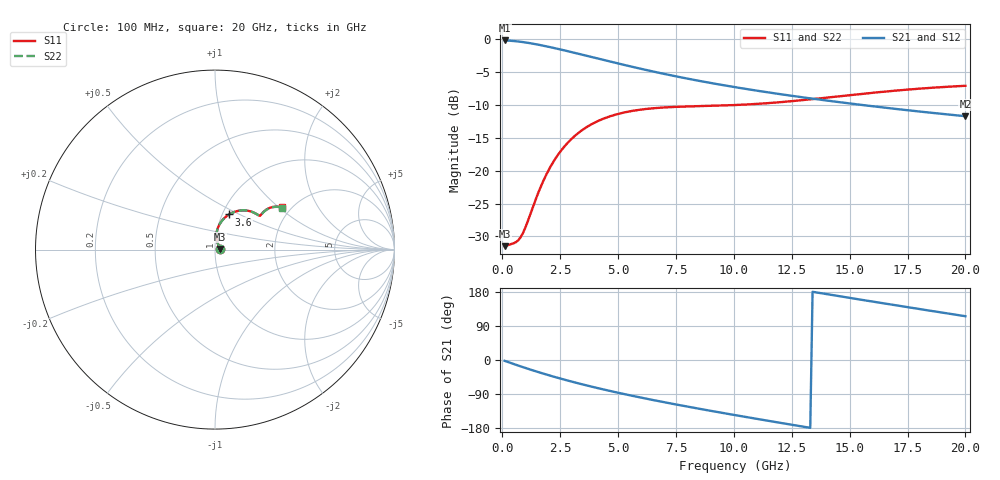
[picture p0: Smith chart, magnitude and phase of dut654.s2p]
! Touchstone file exported from HFSS 2024.1.0
!  File:  C:/UserFiles/LocalFiles/RDL_TSV_Batchsim/temp_RDL_TSV_654_1779809889.aedt
!  Generated:  11:57:06 PM May 26, 2026
!  Design:  RDL_TSV
!  Project:  temp_RDL_TSV_654_1779809889
!  Setup:  Setup1
!  Solution:  Sweep
! Variables:
!  dtsv = 11.44um
!  hbump = 3um
!  htsv = 91.14um
!  ldown = 241.42um
!  lrdl = 624.81um
!  p = 40
!  p1 = 47.72um
!  rhole = 10um
!  subl = 3223.5um
!  t = 450um
!  tdown = 4.9um
!  trdl = 2.88um
!  viad = 10um
!  wdown = 19.99um
!  wrdl = 12.68um
!  xbump = 18um
# GHz S MA R 50.000000
! Terminal data exported
! Port[1] = TM1_1_T1
! Port[2] = TM1_4_T1
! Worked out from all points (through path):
!   200 points, 100 MHz to 20 GHz, reference 50 ohm
!   highest |S21| = -0.24 dB at 100 MHz (marker M1); lowest = -11.7 dB at 20 GHz (marker M2)
!   group delay of S21, straight-line fit = 32 ps
!   lowest |S11| = -31.5 dB at 100 MHz (marker M3), VSWR 1.05, Z = 52.7 + j0.314 ohm
!   |S11| at or under -10 dB: start of sweep to 10.33 GHz
!   |S22| runs from -31.5 to -7.1 dB; largest |S21 - S12| = 7.2e-15
!   S11 on the Smith chart (normalised r, x): 100 MHz: 1.05, +0.01; 3.6 GHz: 1.08, +0.44; 20 GHz: 1.79, +1.05
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0.1  0.02667 6.4  0.973 -2.2  0.973 -2.2  0.02667 6.4
! Gamma 0 0 0 0
! Port Impedance 50 0 50 0
0.6  0.02869 37.3  0.9594 -12.9  0.9594 -12.9  0.0287 37.3
0.8  0.03134 52.0  0.9504 -17.0  0.9504 -17.0  0.03134 51.9
1  0.03707 65.4  0.9397 -21.1  0.9397 -21.1  0.03706 65.4
1.3  0.05158 78.5  0.9213 -27.0  0.9213 -27.0  0.05156 78.4
1.8  0.0856 84.6  0.886 -36.4  0.886 -36.4  0.08554 84.6
2.2  0.1161 83.1  0.8555 -43.6  0.8555 -43.6  0.116 83.0
2.6  0.1464 79.4  0.8243 -50.5  0.8243 -50.5  0.1463 79.4
3  0.1746 74.9  0.7932 -57.1  0.7932 -57.1  0.1745 74.9
3.5  0.2058 69.2  0.755 -64.9  0.755 -64.9  0.2057 69.2
3.6  0.2115 68.1  0.7475 -66.5  0.7475 -66.5  0.2113 68.1
4.3  0.2451 60.7  0.6971 -76.7  0.6971 -76.7  0.2449 60.7
5.2  0.2746 52.7  0.6383 -89.1  0.6383 -89.1  0.2745 52.7
6  0.2907 47.2  0.592 -99.4  0.592 -99.4  0.2906 47.2
6.8  0.3 43.0  0.5511 -109.1  0.5511 -109.1  0.2999 43.0
8.4  0.3082 38.3  0.4838 -127.5  0.4838 -127.5  0.3082 38.2
10.1  0.3149 36.9  0.4285 -146.0  0.4285 -146.0  0.3149 36.9
11.7  0.3274 37.4  0.3874 -162.7  0.3874 -162.7  0.3274 37.3
13.4  0.3488 37.9  0.3516 180.0  0.3516 180.0  0.3487 37.8
15.1  0.3754 37.6  0.3218 163.0  0.3218 163.0  0.3751 37.5
16.7  0.4005 36.4  0.2979 147.2  0.2979 147.2  0.4001 36.2
20  0.4403 32.4  0.2588 115.5  0.2588 115.5  0.4396 32.2
